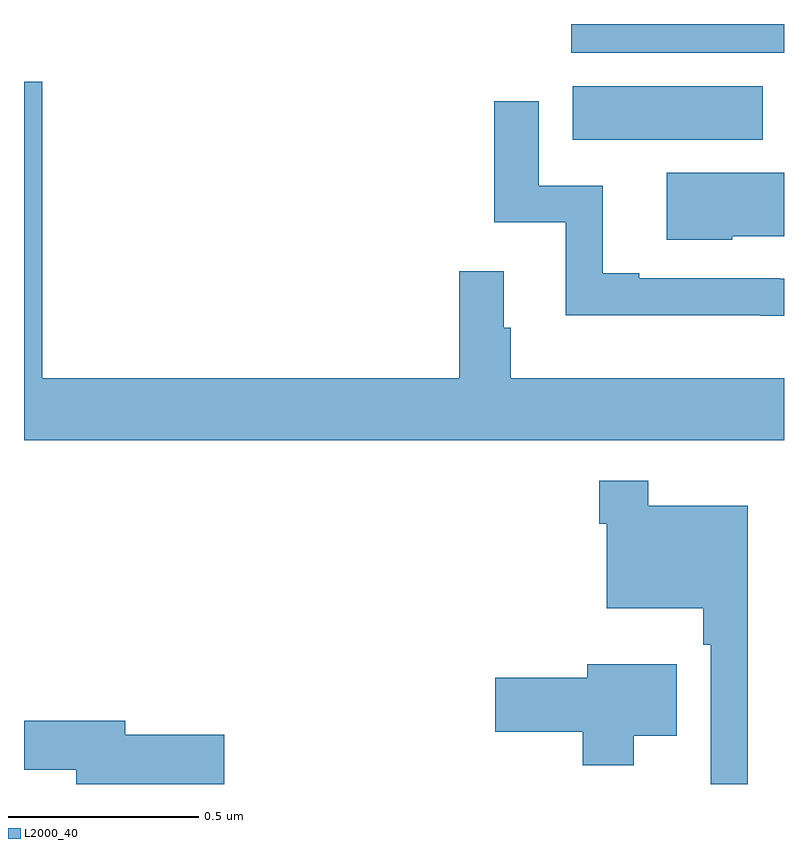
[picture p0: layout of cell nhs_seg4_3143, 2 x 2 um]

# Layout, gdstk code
import gdstk
lib = gdstk.Library(unit=1e-6, precision=1e-09)
def R(c, l, rs):  # rectangles x0, y0, x1, y1
    for r in rs: c.add(gdstk.rectangle(r[:2], r[2:], *l))
def P(c, l, *ps):  # polygons
    for p in ps: c.add(gdstk.Polygon(p, *l))
L2000_40 = (2000, 40)

nhs_seg4_3143 = lib.new_cell('nhs_seg4_3143')
R(nhs_seg4_3143, L2000_40, [(150.444,813.596,150.944,813.736), (150.44,813.825,151,813.9)])
P(nhs_seg4_3143, L2000_40, [(151,812.968),(150.281,812.968),(150.281,813.101),(150.262,813.101),(150.262,813.25),(150.145,813.25),(150.145,812.968),(149.048,812.968),(149.048,813.748),(149,813.748),(149,812.804),(151,812.804)],
  [(151,813.229),(150.989,813.229),(150.989,813.231),(150.619,813.231),(150.619,813.244),(150.523,813.244),(150.523,813.474),(150.354,813.474),(150.354,813.697),(150.238,813.697),(150.238,813.378),(150.425,813.378),(150.425,813.134),(150.937,813.134),(150.937,813.132),(151,813.132)],
  [(150.864,813.342),(151,813.342),(151,813.508),(150.692,813.508),(150.692,813.332),(150.864,813.332)],
  [(150.904,812.632),(150.643,812.632),(150.643,812.698),(150.514,812.698),(150.514,812.585),(150.534,812.585),(150.534,812.363),(150.787,812.363),(150.787,812.267),(150.807,812.267),(150.807,811.9),(150.904,811.9)],
  [(150.604,812.027),(150.718,812.027),(150.718,812.215),(150.482,812.215),(150.482,812.18),(150.24,812.18),(150.24,812.038),(150.47,812.038),(150.47,811.949),(150.604,811.949)],
  [(149.527,812.03),(149.266,812.03),(149.266,812.066),(149,812.066),(149,811.938),(149.138,811.938),(149.138,811.9),(149.527,811.9)])

lib.write_gds('nhs_seg4_3143.gds')
